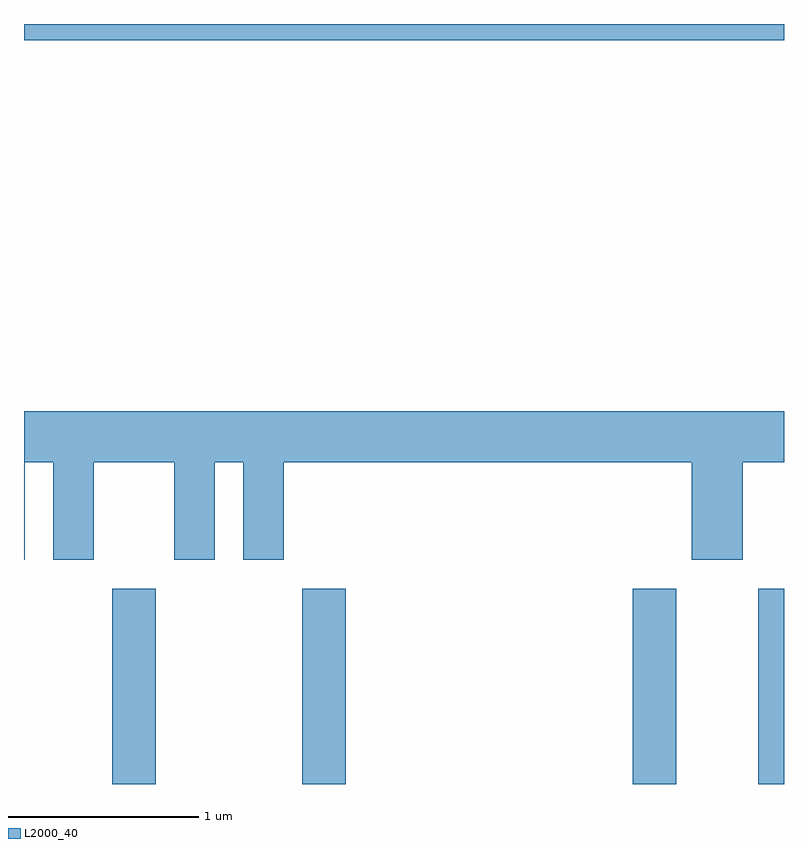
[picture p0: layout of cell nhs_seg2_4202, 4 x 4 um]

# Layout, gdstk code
import gdstk
lib = gdstk.Library(unit=1e-6, precision=1e-09)
def R(c, l, rs):  # rectangles x0, y0, x1, y1
    for r in rs: c.add(gdstk.rectangle(r[:2], r[2:], *l))
def P(c, l, *ps):  # polygons
    for p in ps: c.add(gdstk.Polygon(p, *l))
L2000_40 = (2000, 40)

nhs_seg2_4202 = lib.new_cell('nhs_seg2_4202')
R(nhs_seg2_4202, L2000_40, [(310.076,977.802,310.304,978.829), (311.076,977.802,311.304,978.829), (312.816,977.802,313.044,978.829), (313.476,977.802,313.611,978.829), (309.611,981.716,313.611,981.802)])
P(nhs_seg2_4202, L2000_40, [(309.614,979.496),(309.766,979.496),(309.766,978.981),(309.979,978.981),(309.979,979.496),(310.401,979.496),(310.401,978.981),(310.614,978.981),(310.614,979.496),(310.766,979.496),(310.766,978.981),(310.979,978.981),(310.979,979.496),(313.126,979.496),(313.126,978.981),(313.394,978.981),(313.394,979.496),(313.611,979.496),(313.611,979.764),(309.611,979.764),(309.611,978.981),(309.614,978.981)])

lib.write_gds('nhs_seg2_4202.gds')
